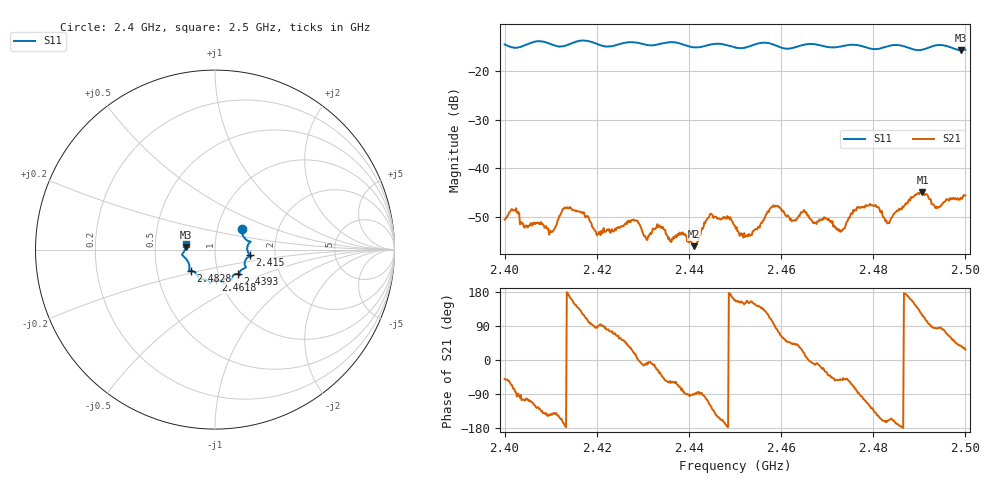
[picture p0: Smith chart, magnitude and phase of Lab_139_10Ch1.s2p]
# Hz S RI R 50
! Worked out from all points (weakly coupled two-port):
!   601 points, 2.4 GHz to 2.5 GHz, reference 50 ohm
!   highest |S21| = -44.90 dB at 2.4907 GHz (marker M1); lowest = -56.0 dB at 2.4412 GHz (marker M2)
!   lowest |S11| = -15.7 dB at 2.499 GHz (marker M3), VSWR 1.39, Z = 35.9 + j1.11 ohm
!   |S11| at or under -10 dB: start of sweep to end of sweep
!   S12 and S22 are empty: the file has one direction only
!   S11 on the Smith chart (normalised r, x): 2.4 GHz: 1.31, +0.31; 2.415 GHz: 1.48, -0.10; 2.4393 GHz: 1.23, -0.35; 2.4618 GHz: 0.95, -0.34; 2.4828 GHz: 0.74, -0.18; 2.5 GHz: 0.72, +0.05
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2.4e9  0.1503 0.1141  0.00191 -0.00227  0 0  0 0
2.410167e9  0.1861 0.0303  -0.00173 -0.00137  0 0  0 0
2.415e9  0.1949 -0.0322  -0.0032 0.00185  0 0  0 0
2.416667e9  0.2034 -0.0381  -0.00213 0.00286  0 0  0 0
2.420333e9  0.1842 -0.0421  2.18e-06 0.0021  0 0  0 0
2.433333e9  0.1362 -0.1314  0.00219 -0.00115  0 0  0 0
2.439333e9  0.1254 -0.1352  -6.54e-06 -0.00202  0 0  0 0
2.441167e9  0.1077 -0.1391  -2.33e-05 -0.00158  0 0  0 0
2.444667e9  0.0889 -0.1658  -0.00175 -0.00294  0 0  0 0
2.45e9  0.0698 -0.1615  -0.00237 0.000936  0 0  0 0
2.453167e9  0.0418 -0.176  -0.00178 0.00096  0 0  0 0
2.458667e9  0.0394 -0.1816  6.13e-06 0.00411  0 0  0 0
2.461833e9  0.00428 -0.171  0.00211 0.00222  0 0  0 0
2.466667e9  -0.0261 -0.1889  0.00287 -0.000362  0 0  0 0
2.473167e9  -0.0732 -0.1654  0.00142 -0.0018  0 0  0 0
2.479333e9  -0.1004 -0.1386  -0.00229 -0.00365  0 0  0 0
2.482833e9  -0.1345 -0.1181  -0.00276 -0.000952  0 0  0 0
2.483333e9  -0.1385 -0.1178  -0.00259 -0.001  0 0  0 0
2.490667e9  -0.1563 -0.0581  -0.0026 0.00506  0 0  0 0
2.493833e9  -0.1829 -0.0312  0.000467 0.00386  0 0  0 0
2.499e9  -0.1638 0.015  0.00393 0.00308  0 0  0 0
2.5e9  -0.1635 0.033  0.00465 0.0024  0 0  0 0
